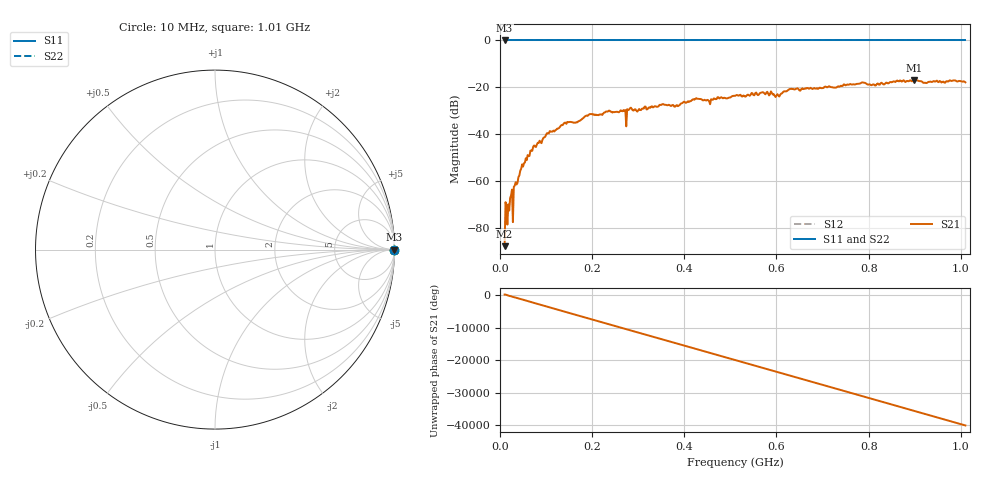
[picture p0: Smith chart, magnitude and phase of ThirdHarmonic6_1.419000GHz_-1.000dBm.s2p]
! 8/16/2025 4:18:42 PM
! C:\ANRITSUVNA\TEMP\TEMP.S2P
! CHANNEL.1
! TR.MEASUREMENT
! RAW.DATA
! RF.CORRECTION.OFF
! AVERAGING.OFF
! IF.BANDWIDTH: 5KHZ
! SWEEPTYPE:  FREQ.SWEEP(Linear)
! Reference Plane Port Info
! PORT:  PORT1  PORT2
! DISTANCE:  0  m  0  m
! TIME:  0  s  0  s
! PHASE.OFFSET:  0  deg.  0  deg.
! LOSS:  0  dB  0  dB
! REF.LOSS:  0  dB  0  dB
! REF.FREQ:  0  Hz  0  Hz
! Power Info
! POWER:  -20  dBm  -20  dBm
! EFF.POWER:  -20  dBm  -20  dBm
! SOURCE.ATTEN:  0  dB  0  dB
! TEST.ATTEN:  0  dB  0  dB
# GHZ S RI R 50.0
! FREQ.GHZ  S11RE  S11IM  S21RE  S21IM  S12RE  S12IM  S22RE  S22IM
!; PortSelection: Port_12
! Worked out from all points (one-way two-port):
!   501 points, 10 MHz to 1.01 GHz, reference 50 ohm
!   highest |S21| = -16.87 dB at 898 MHz (marker M1); lowest = -87.9 dB at 10 MHz (marker M2)
!   lowest |S11| = 0.0 dB at 10 MHz (marker M3)
!   |S11| at or under -10 dB: nowhere
!   |S22| runs from 0.0 to 0.0 dB; largest |S21 - S12| = 1.1
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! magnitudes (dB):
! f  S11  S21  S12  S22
! 10 MHz  0.0  -87.9  0.0  0.0
! 20 MHz  0.0  -72.7  0.0  0.0
! 22 MHz  0.0  -67.3  0.0  0.0
! 24 MHz  0.0  -66.3  0.0  0.0
! 32 MHz  0.0  -62.0  0.0  0.0
! 34 MHz  0.0  -60.6  0.0  0.0
! 44 MHz  0.0  -55.7  0.0  0.0
! 70 MHz  0.0  -47.2  0.0  0.0
! 106 MHz  0.0  -39.7  0.0  0.0
! 178 MHz  0.0  -33.6  0.0  0.0
! 234 MHz  0.0  -30.4  0.0  0.0
! 270 MHz  0.0  -30.2  0.0  0.0
! 280 MHz  0.0  -29.6  0.0  0.0
! 344 MHz  0.0  -28.2  0.0  0.0
! 510 MHz  0.0  -23.7  0.0  0.0
! 568 MHz  0.0  -22.2  0.0  0.0
! 602 MHz  0.0  -23.0  0.0  0.0
! 630 MHz  0.0  -20.7  0.0  0.0
! 678 MHz  0.0  -20.7  0.0  0.0
! 844 MHz  0.0  -18.2  0.0  0.0
! 898 MHz  0.0  -16.9  0.0  0.0
! 1.01 GHz  0.0  -17.9  0.0  0.0
